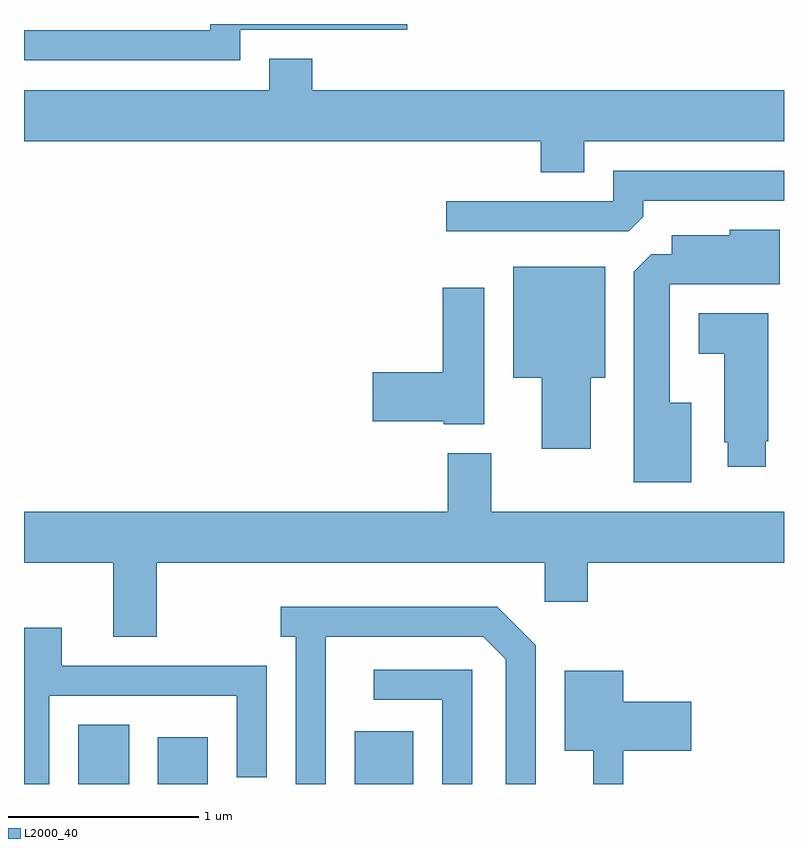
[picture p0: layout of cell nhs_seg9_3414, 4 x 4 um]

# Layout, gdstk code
import gdstk
lib = gdstk.Library(unit=1e-6, precision=1e-09)
def R(c, l, rs):  # rectangles x0, y0, x1, y1
    for r in rs: c.add(gdstk.rectangle(r[:2], r[2:], *l))
def P(c, l, *ps):  # polygons
    for p in ps: c.add(gdstk.Polygon(p, *l))
L2000_40 = (2000, 40)

nhs_seg9_3414 = lib.new_cell('nhs_seg9_3414')
R(nhs_seg9_3414, L2000_40, [(285.896,1988.432,286.164,1988.744), (286.316,1988.432,286.579,1988.679), (287.351,1988.432,287.659,1988.709)])
P(nhs_seg9_3414, L2000_40, [(286.749,1992.401),(287.628,1992.401),(287.628,1992.432),(286.591,1992.432),(286.591,1992.399),(285.611,1992.399),(285.611,1992.241),(286.749,1992.241)],
  [(288.559,1991.816),(289.611,1991.816),(289.611,1992.084),(287.129,1992.084),(287.129,1992.249),(286.901,1992.249),(286.901,1992.084),(285.611,1992.084),(285.611,1991.816),(288.331,1991.816),(288.331,1991.651),(288.559,1991.651)],
  [(288.869,1991.417),(288.869,1991.501),(289.611,1991.501),(289.611,1991.659),(288.711,1991.659),(288.711,1991.499),(287.833,1991.499),(287.833,1991.341),(288.794,1991.341)],
  [(289.124,1990.439),(289.009,1990.439),(289.009,1991.061),(289.589,1991.061),(289.589,1991.349),(289.326,1991.349),(289.326,1991.319),(289.021,1991.319),(289.021,1991.219),(288.912,1991.219),(288.821,1991.129),(288.821,1990.021),(289.124,1990.021)],
  [(288.594,1990.571),(288.669,1990.571),(288.669,1991.154),(288.186,1991.154),(288.186,1990.571),(288.336,1990.571),(288.336,1990.196),(288.594,1990.196)],
  [(288.034,1991.044),(287.816,1991.044),(287.816,1990.599),(287.446,1990.599),(287.446,1990.341),(287.82,1990.341),(287.82,1990.326),(288.034,1990.326)],
  [(289.514,1990.235),(289.529,1990.235),(289.529,1990.909),(289.161,1990.909),(289.161,1990.696),(289.296,1990.696),(289.296,1990.231),(289.316,1990.231),(289.316,1990.101),(289.514,1990.101)],
  [(286.309,1989.596),(288.351,1989.596),(288.351,1989.391),(288.579,1989.391),(288.579,1989.596),(289.611,1989.596),(289.611,1989.864),(288.069,1989.864),(288.069,1990.174),(287.841,1990.174),(287.841,1989.864),(285.611,1989.864),(285.611,1989.596),(286.081,1989.596),(286.081,1989.206),(286.309,1989.206)],
  [(287.199,1989.206),(288.029,1989.206),(288.146,1989.089),(288.146,1988.432),(288.304,1988.432),(288.304,1989.162),(288.102,1989.364),(286.963,1989.364),(286.963,1989.206),(287.041,1989.206),(287.041,1988.432),(287.199,1988.432)],
  [(285.744,1988.896),(286.731,1988.896),(286.731,1988.468),(286.889,1988.468),(286.889,1989.054),(285.809,1989.054),(285.809,1989.254),(285.611,1989.254),(285.611,1988.432),(285.744,1988.432)],
  [(287.969,1989.034),(287.453,1989.034),(287.453,1988.876),(287.811,1988.876),(287.811,1988.432),(287.969,1988.432)],
  [(288.764,1988.606),(289.124,1988.606),(289.124,1988.864),(288.764,1988.864),(288.764,1989.029),(288.456,1989.029),(288.456,1988.606),(288.606,1988.606),(288.606,1988.432),(288.764,1988.432)])

lib.write_gds('nhs_seg9_3414.gds')
